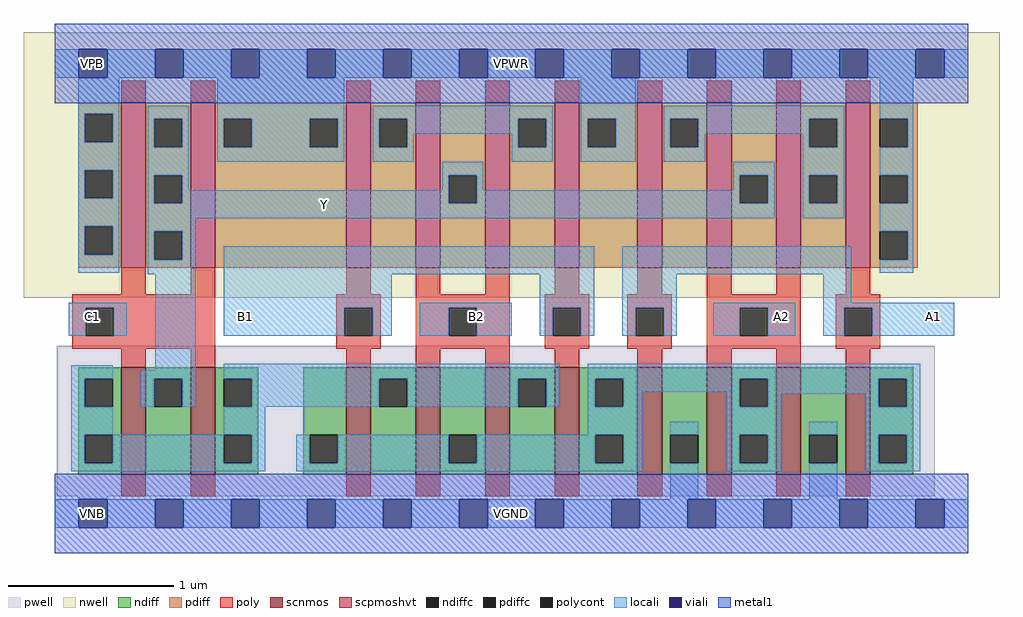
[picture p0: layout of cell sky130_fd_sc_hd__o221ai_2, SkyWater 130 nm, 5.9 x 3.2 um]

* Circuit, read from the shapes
.subckt sky130_fd_sc_hd__o221ai_2 A1 A2 B1 B2 C1 VGND VNB VPB VPWR Y
XM1 Y C1 n1 VNB sky130_fd_pr__nfet_01v8 w=0.65 l=0.15 m=2
XM2 n1 B1 n2 VNB sky130_fd_pr__nfet_01v8 w=0.65 l=0.15 m=2
XM3 n2 B2 n1 VNB sky130_fd_pr__nfet_01v8 w=0.65 l=0.15 m=2
XM4 VGND A1 n2 VNB sky130_fd_pr__nfet_01v8 w=0.65 l=0.15 m=2
XM5 n2 A2 VGND VNB sky130_fd_pr__nfet_01v8 w=0.65 l=0.15 m=2
XM6 Y C1 VPWR VPB sky130_fd_pr__pfet_01v8_hvt w=1 l=0.15 m=2
XM7 n3 B1 VPWR VPB sky130_fd_pr__pfet_01v8_hvt w=1 l=0.15 m=2
XM8 Y B2 n3 VPB sky130_fd_pr__pfet_01v8_hvt w=1 l=0.15 m=2
XM9 n4 A1 VPWR VPB sky130_fd_pr__pfet_01v8_hvt w=1 l=0.15 m=2
XM10 Y A2 n4 VPB sky130_fd_pr__pfet_01v8_hvt w=1 l=0.15 m=2
.ends

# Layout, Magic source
magic
tech sky130B
magscale 1 2
<< nwell >>
rect -38 261 1142 582
<< pwell >>
rect 2 21 1064 203
rect 29 -17 63 21
<< scnmos >>
rect 80 47 110 177
rect 164 47 194 177
rect 352 47 382 177
rect 436 47 466 177
rect 520 47 550 177
rect 604 47 634 177
rect 704 47 734 177
rect 788 47 818 177
rect 872 47 902 177
rect 956 47 986 177
<< scpmoshvt >>
rect 80 297 110 497
rect 164 297 194 497
rect 352 297 382 497
rect 436 297 466 497
rect 520 297 550 497
rect 604 297 634 497
rect 704 297 734 497
rect 788 297 818 497
rect 872 297 902 497
rect 956 297 986 497
<< ndiff >>
rect 28 163 80 177
rect 28 129 36 163
rect 70 129 80 163
rect 28 95 80 129
rect 28 61 36 95
rect 70 61 80 95
rect 28 47 80 61
rect 110 163 164 177
rect 110 129 120 163
rect 154 129 164 163
rect 110 47 164 129
rect 194 163 246 177
rect 194 129 204 163
rect 238 129 246 163
rect 194 95 246 129
rect 194 61 204 95
rect 238 61 246 95
rect 194 47 246 61
rect 300 95 352 177
rect 300 61 308 95
rect 342 61 352 95
rect 300 47 352 61
rect 382 163 436 177
rect 382 129 392 163
rect 426 129 436 163
rect 382 47 436 129
rect 466 95 520 177
rect 466 61 476 95
rect 510 61 520 95
rect 466 47 520 61
rect 550 163 604 177
rect 550 129 560 163
rect 594 129 604 163
rect 550 47 604 129
rect 634 163 704 177
rect 634 129 653 163
rect 687 129 704 163
rect 634 95 704 129
rect 634 61 653 95
rect 687 61 704 95
rect 634 47 704 61
rect 734 95 788 177
rect 734 61 744 95
rect 778 61 788 95
rect 734 47 788 61
rect 818 163 872 177
rect 818 129 828 163
rect 862 129 872 163
rect 818 95 872 129
rect 818 61 828 95
rect 862 61 872 95
rect 818 47 872 61
rect 902 95 956 177
rect 902 61 912 95
rect 946 61 956 95
rect 902 47 956 61
rect 986 163 1038 177
rect 986 129 996 163
rect 1030 129 1038 163
rect 986 95 1038 129
rect 986 61 996 95
rect 1030 61 1038 95
rect 986 47 1038 61
<< pdiff >>
rect 28 483 80 497
rect 28 449 36 483
rect 70 449 80 483
rect 28 415 80 449
rect 28 381 36 415
rect 70 381 80 415
rect 28 347 80 381
rect 28 313 36 347
rect 70 313 80 347
rect 28 297 80 313
rect 110 477 164 497
rect 110 443 120 477
rect 154 443 164 477
rect 110 409 164 443
rect 110 375 120 409
rect 154 375 164 409
rect 110 341 164 375
rect 110 307 120 341
rect 154 307 164 341
rect 110 297 164 307
rect 194 477 352 497
rect 194 443 204 477
rect 238 443 308 477
rect 342 443 352 477
rect 194 297 352 443
rect 382 477 436 497
rect 382 443 392 477
rect 426 443 436 477
rect 382 297 436 443
rect 466 409 520 497
rect 466 375 476 409
rect 510 375 520 409
rect 466 297 520 375
rect 550 477 604 497
rect 550 443 560 477
rect 594 443 604 477
rect 550 297 604 443
rect 634 477 704 497
rect 634 443 644 477
rect 678 443 704 477
rect 634 297 704 443
rect 734 477 788 497
rect 734 443 744 477
rect 778 443 788 477
rect 734 297 788 443
rect 818 409 872 497
rect 818 375 828 409
rect 862 375 872 409
rect 818 297 872 375
rect 902 477 956 497
rect 902 443 912 477
rect 946 443 956 477
rect 902 409 956 443
rect 902 375 912 409
rect 946 375 956 409
rect 902 297 956 375
rect 986 477 1043 497
rect 986 443 997 477
rect 1031 443 1043 477
rect 986 409 1043 443
rect 986 375 997 409
rect 1031 375 1043 409
rect 986 341 1043 375
rect 986 307 997 341
rect 1031 307 1043 341
rect 986 297 1043 307
<< ndiffc >>
rect 36 129 70 163
rect 36 61 70 95
rect 120 129 154 163
rect 204 129 238 163
rect 204 61 238 95
rect 308 61 342 95
rect 392 129 426 163
rect 476 61 510 95
rect 560 129 594 163
rect 653 129 687 163
rect 653 61 687 95
rect 744 61 778 95
rect 828 129 862 163
rect 828 61 862 95
rect 912 61 946 95
rect 996 129 1030 163
rect 996 61 1030 95
<< pdiffc >>
rect 36 449 70 483
rect 36 381 70 415
rect 36 313 70 347
rect 120 443 154 477
rect 120 375 154 409
rect 120 307 154 341
rect 204 443 238 477
rect 308 443 342 477
rect 392 443 426 477
rect 476 375 510 409
rect 560 443 594 477
rect 644 443 678 477
rect 744 443 778 477
rect 828 375 862 409
rect 912 443 946 477
rect 912 375 946 409
rect 997 443 1031 477
rect 997 375 1031 409
rect 997 307 1031 341
<< poly >>
rect 80 497 110 523
rect 164 497 194 523
rect 352 497 382 523
rect 436 497 466 523
rect 520 497 550 523
rect 604 497 634 523
rect 704 497 734 523
rect 788 497 818 523
rect 872 497 902 523
rect 956 497 986 523
rect 80 265 110 297
rect 164 265 194 297
rect 352 265 382 297
rect 436 265 466 297
rect 520 265 550 297
rect 604 265 634 297
rect 704 265 734 297
rect 788 265 818 297
rect 872 265 902 297
rect 956 265 986 297
rect 21 249 194 265
rect 21 215 37 249
rect 71 215 194 249
rect 21 199 194 215
rect 340 249 394 265
rect 340 215 350 249
rect 384 215 394 249
rect 340 199 394 215
rect 436 249 550 265
rect 436 215 476 249
rect 510 215 550 249
rect 436 199 550 215
rect 592 249 646 265
rect 592 215 602 249
rect 636 215 646 249
rect 592 199 646 215
rect 692 249 746 265
rect 692 215 702 249
rect 736 215 746 249
rect 692 199 746 215
rect 788 249 902 265
rect 788 215 828 249
rect 862 215 902 249
rect 788 199 902 215
rect 944 249 998 265
rect 944 215 954 249
rect 988 215 998 249
rect 944 199 998 215
rect 80 177 110 199
rect 164 177 194 199
rect 352 177 382 199
rect 436 177 466 199
rect 520 177 550 199
rect 604 177 634 199
rect 704 177 734 199
rect 788 177 818 199
rect 872 177 902 199
rect 956 177 986 199
rect 80 21 110 47
rect 164 21 194 47
rect 352 21 382 47
rect 436 21 466 47
rect 520 21 550 47
rect 604 21 634 47
rect 704 21 734 47
rect 788 21 818 47
rect 872 21 902 47
rect 956 21 986 47
<< polycont >>
rect 37 215 71 249
rect 350 215 384 249
rect 476 215 510 249
rect 602 215 636 249
rect 702 215 736 249
rect 828 215 862 249
rect 954 215 988 249
<< locali >>
rect 0 527 29 561
rect 63 527 121 561
rect 155 527 213 561
rect 247 527 305 561
rect 339 527 397 561
rect 431 527 489 561
rect 523 527 581 561
rect 615 527 673 561
rect 707 527 765 561
rect 799 527 857 561
rect 891 527 949 561
rect 983 527 1041 561
rect 1075 527 1104 561
rect 28 483 78 527
rect 28 449 36 483
rect 70 449 78 483
rect 28 415 78 449
rect 28 381 36 415
rect 70 381 78 415
rect 28 347 78 381
rect 28 313 36 347
rect 70 313 78 347
rect 28 291 78 313
rect 112 477 162 493
rect 112 443 120 477
rect 154 443 162 477
rect 112 409 162 443
rect 196 477 350 527
rect 196 443 204 477
rect 238 443 308 477
rect 342 443 350 477
rect 196 425 350 443
rect 384 477 602 493
rect 384 443 392 477
rect 426 459 560 477
rect 426 443 434 459
rect 384 425 434 443
rect 552 443 560 459
rect 594 443 602 477
rect 552 425 602 443
rect 636 477 702 527
rect 636 443 644 477
rect 678 443 702 477
rect 636 425 702 443
rect 736 477 954 493
rect 736 443 744 477
rect 778 459 912 477
rect 778 443 786 459
rect 736 425 786 443
rect 904 443 912 459
rect 946 443 954 477
rect 112 375 120 409
rect 154 391 162 409
rect 468 409 518 425
rect 468 391 476 409
rect 154 375 476 391
rect 510 391 518 409
rect 820 409 870 425
rect 820 391 828 409
rect 510 375 828 391
rect 862 375 870 409
rect 112 357 870 375
rect 904 409 954 443
rect 904 375 912 409
rect 946 375 954 409
rect 904 357 954 375
rect 997 477 1038 527
rect 1031 443 1038 477
rect 997 409 1038 443
rect 1031 375 1038 409
rect 112 341 170 357
rect 112 307 120 341
rect 154 307 170 341
rect 997 341 1038 375
rect 112 289 170 307
rect 17 249 87 255
rect 17 215 37 249
rect 71 215 87 249
rect 20 163 70 179
rect 121 173 170 289
rect 204 289 652 323
rect 204 249 407 289
rect 204 215 350 249
rect 384 215 407 249
rect 441 249 552 255
rect 441 215 476 249
rect 510 215 552 249
rect 586 249 652 289
rect 586 215 602 249
rect 636 215 652 249
rect 686 289 963 323
rect 1031 307 1038 341
rect 997 291 1038 307
rect 686 249 752 289
rect 929 255 963 289
rect 686 215 702 249
rect 736 215 752 249
rect 796 249 895 255
rect 796 215 828 249
rect 862 215 895 249
rect 929 249 1087 255
rect 929 215 954 249
rect 988 215 1087 249
rect 20 129 36 163
rect 104 163 170 173
rect 104 129 120 163
rect 154 129 170 163
rect 204 163 610 181
rect 238 129 392 163
rect 426 129 560 163
rect 594 129 610 163
rect 644 163 1046 181
rect 644 129 653 163
rect 687 147 828 163
rect 687 129 710 147
rect 20 95 70 129
rect 204 95 254 129
rect 644 95 710 129
rect 812 129 828 147
rect 862 145 996 163
rect 862 129 878 145
rect 20 61 36 95
rect 70 61 204 95
rect 238 61 254 95
rect 20 51 254 61
rect 292 61 308 95
rect 342 61 476 95
rect 510 61 653 95
rect 687 61 710 95
rect 292 51 710 61
rect 744 95 778 111
rect 744 17 778 61
rect 812 95 878 129
rect 980 129 996 145
rect 1030 129 1046 163
rect 812 61 828 95
rect 862 61 878 95
rect 812 51 878 61
rect 912 95 946 111
rect 912 17 946 61
rect 980 95 1046 129
rect 980 61 996 95
rect 1030 61 1046 95
rect 980 51 1046 61
rect 0 -17 29 17
rect 63 -17 121 17
rect 155 -17 213 17
rect 247 -17 305 17
rect 339 -17 397 17
rect 431 -17 489 17
rect 523 -17 581 17
rect 615 -17 673 17
rect 707 -17 765 17
rect 799 -17 857 17
rect 891 -17 949 17
rect 983 -17 1041 17
rect 1075 -17 1104 17
<< viali >>
rect 29 527 63 561
rect 121 527 155 561
rect 213 527 247 561
rect 305 527 339 561
rect 397 527 431 561
rect 489 527 523 561
rect 581 527 615 561
rect 673 527 707 561
rect 765 527 799 561
rect 857 527 891 561
rect 949 527 983 561
rect 1041 527 1075 561
rect 29 -17 63 17
rect 121 -17 155 17
rect 213 -17 247 17
rect 305 -17 339 17
rect 397 -17 431 17
rect 489 -17 523 17
rect 581 -17 615 17
rect 673 -17 707 17
rect 765 -17 799 17
rect 857 -17 891 17
rect 949 -17 983 17
rect 1041 -17 1075 17
<< metal1 >>
rect 0 561 1104 592
rect 0 527 29 561
rect 63 527 121 561
rect 155 527 213 561
rect 247 527 305 561
rect 339 527 397 561
rect 431 527 489 561
rect 523 527 581 561
rect 615 527 673 561
rect 707 527 765 561
rect 799 527 857 561
rect 891 527 949 561
rect 983 527 1041 561
rect 1075 527 1104 561
rect 0 496 1104 527
rect 0 17 1104 48
rect 0 -17 29 17
rect 63 -17 121 17
rect 155 -17 213 17
rect 247 -17 305 17
rect 339 -17 397 17
rect 431 -17 489 17
rect 523 -17 581 17
rect 615 -17 673 17
rect 707 -17 765 17
rect 799 -17 857 17
rect 891 -17 949 17
rect 983 -17 1041 17
rect 1075 -17 1104 17
rect 0 -48 1104 -17
<< labels >>
flabel locali s 213 221 247 255 0 FreeSans 400 0 0 0 B1
port 3 nsew signal input
flabel locali s 493 221 527 255 0 FreeSans 400 0 0 0 B2
port 4 nsew signal input
flabel locali s 309 357 343 391 0 FreeSans 400 0 0 0 Y
port 10 nsew signal output
flabel locali s 861 221 895 255 0 FreeSans 400 180 0 0 A2
port 2 nsew signal input
flabel locali s 1045 221 1079 255 0 FreeSans 400 180 0 0 A1
port 1 nsew signal input
flabel locali s 29 221 63 255 0 FreeSans 400 0 0 0 C1
port 5 nsew signal input
flabel pwell s 29 -17 63 17 0 FreeSans 200 0 0 0 VNB
port 7 nsew ground bidirectional
flabel nwell s 29 527 63 561 0 FreeSans 200 0 0 0 VPB
port 8 nsew power bidirectional
flabel metal1 s 29 -17 63 17 0 FreeSans 200 0 0 0 VGND
port 6 nsew ground bidirectional abutment
flabel metal1 s 29 527 63 561 0 FreeSans 200 0 0 0 VPWR
port 9 nsew power bidirectional abutment
rlabel comment s 0 0 0 0 4 o221ai_2
rlabel metal1 s 0 -48 1104 48 1 VGND
port 6 nsew ground bidirectional abutment
rlabel metal1 s 0 496 1104 592 1 VPWR
port 9 nsew power bidirectional abutment
<< properties >>
string FIXED_BBOX 0 0 1104 544
string GDS_END 834742
string GDS_FILE $PDKPATH/libs.ref/sky130_fd_sc_hd/gds/sky130_fd_sc_hd.gds
string GDS_START 826076
string LEFclass CORE
string LEFsite unithd
string LEFsymmetry X Y R90
string path 0.000 0.000 5.520 0.000 
<< end >>
